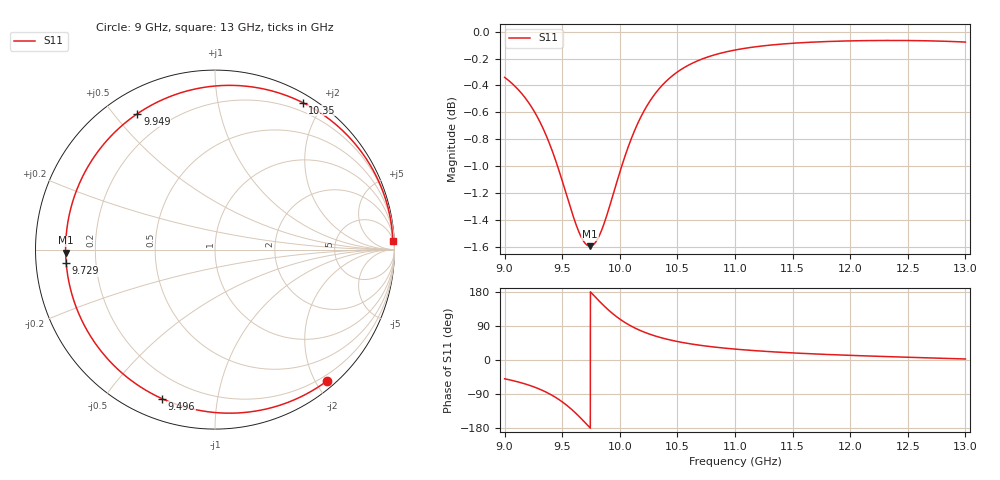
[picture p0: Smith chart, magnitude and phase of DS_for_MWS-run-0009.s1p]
! TOUCHSTONE file generated by CST DESIGN STUDIO
! Date and time: Wed Feb  5 13:34:30 2025
! Project name: C:\Work\MatlabApps\UnitCellOptimizationMatlab\CST\unitcell.cst
! Tree item: Tasks\Sweep1\SPara1\S-Parameters
! Header version: 2024
! Port assignment regex: !\s*Touchstone port\s*([0-9]+)\s*=\s*(CST MWS port|CST DES external port|CST DES block port)\s*(.+)\s* \(\"(.*)\"\)(\s*mode\s*([0-9]+))?.*
! Touchstone port assignment:
! Touchstone port 1 = CST DES external port 1 ("")
# GHz S MA R 50
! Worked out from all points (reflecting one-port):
!   4001 points, 9 GHz to 13 GHz, reference 50 ohm
!   lowest |S11| = -1.6 dB at 9.741 GHz (marker M1), VSWR 10.93, Z = 4.57 - j0.51 ohm
!   phase of S11 starts at -50 deg and turns -308 deg over the sweep
!   S11 on the Smith chart (normalised r, x): 9 GHz: 0.11, -2.16; 9.496 GHz: 0.09, -0.70; 9.729 GHz: 0.09, -0.04; 9.949 GHz: 0.09, +0.58; 10.35 GHz: 0.10, +1.76; 13 GHz: 8, +41
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9  0.9617 -49.6
9.137  0.9497 -59.5
9.264  0.933 -72.1
9.395  0.9074 -90.3
9.448  0.8944 -99.7
9.496  0.8814 -109.5
9.5  0.8803 -110.4
9.555  0.8648 -123.4
9.609  0.8506 -137.9
9.673  0.8376 -157.0
9.729  0.8325 -174.9
9.741  0.8324 -178.8
9.785  0.8347 166.9
9.832  0.8418 152.1
9.891  0.8556 134.8
9.949  0.872 119.7
10  0.8867 108.0
10.078  0.9074 92.9
10.173  0.9278 78.5
10.26  0.9421 68.1
10.354  0.9537 59.2
10.5  0.9661 48.8
10.718  0.977 38.0
11  0.9844 28.8
11.5  0.9901 18.7
12  0.9921 12.2
12.5  0.9924 7.3
13  0.9911 2.7
